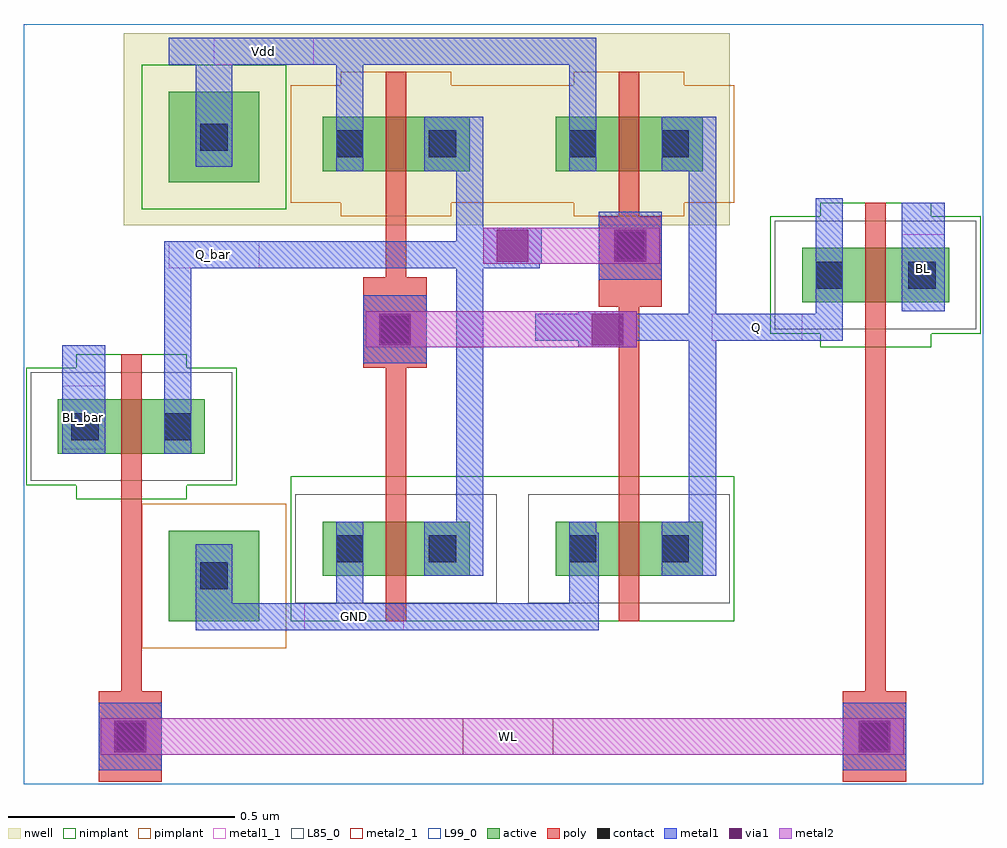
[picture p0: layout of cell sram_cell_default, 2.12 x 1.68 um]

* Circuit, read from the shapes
.subckt sram_cell_default BL BL_bar GND Q Q_bar Vdd WL
M1 Q_bar WL BL_bar GND nfet w=0.12u l=0.045u
M2 Q_bar Q GND GND nfet w=0.12u l=0.045u
M3 Q Q_bar GND GND nfet w=0.12u l=0.045u
M4 BL WL Q GND nfet w=0.12u l=0.045u
M5 Q_bar Q Vdd Vdd pfet w=0.12u l=0.045u
M6 Q Q_bar Vdd Vdd pfet w=0.12u l=0.045u
.ends

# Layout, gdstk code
from math import pi, radians
import gdstk
lib = gdstk.Library(unit=1e-6, precision=5e-10)
def R(c, l, rs):  # rectangles x0, y0, x1, y1
    for r in rs: c.add(gdstk.rectangle(r[:2], r[2:], *l))
active = (1, 0)
nwell = (2, 0)
poly = (3, 0)
nimplant = (4, 0)
pimplant = (5, 0)
contact = (6, 0)
metal1 = (7, 0)
metal1_1 = (7, 1)
via1 = (8, 0)
metal2 = (9, 0)
metal2_1 = (9, 1)
L85_0 = (85, 0)
L99_0 = (99, 0)

nmos1v_cdns_794036925230 = lib.new_cell('nmos1v_CDNS_794036925230')
R(nmos1v_cdns_794036925230, active, [(-0.14,0,0,0.12), (0,0,0.045,0.12), (0.045,0,0.185,0.12)])
R(nmos1v_cdns_794036925230, poly, [(0,-0.1,0.045,-0.05), (0,-0.05,0.045,0), (0,0,0.045,0.12), (0,0.12,0.045,0.17), (0,0.17,0.045,0.22)])
R(nmos1v_cdns_794036925230, nimplant, [(-0.1,-0.1,0.145,0.22), (-0.21,-0.07,0.255,0.19)])
R(nmos1v_cdns_794036925230, contact, [(-0.11,0.03,-0.05,0.09), (0.095,0.03,0.155,0.09)])
R(nmos1v_cdns_794036925230, metal1, [(-0.11,0,-0.05,0.12), (0.095,0,0.155,0.12)])
R(nmos1v_cdns_794036925230, L85_0, [(-0.2,-0.06,0.245,0.18)])

pmos1v_cdns_794036925231 = lib.new_cell('pmos1v_CDNS_794036925231')
R(pmos1v_cdns_794036925231, active, [(-0.14,0,0,0.12), (0,0,0.045,0.12), (0.045,0,0.185,0.12)])
R(pmos1v_cdns_794036925231, nwell, [(-0.2,-0.06,0.245,0.18)])
R(pmos1v_cdns_794036925231, poly, [(0,-0.1,0.045,-0.05), (0,-0.05,0.045,0), (0,0,0.045,0.12), (0,0.12,0.045,0.17), (0,0.17,0.045,0.22)])
R(pmos1v_cdns_794036925231, pimplant, [(-0.1,-0.1,0.145,0.22), (-0.21,-0.07,0.255,0.19)])
R(pmos1v_cdns_794036925231, contact, [(-0.11,0.03,-0.05,0.09), (0.095,0.03,0.155,0.09)])
R(pmos1v_cdns_794036925231, metal1, [(-0.11,0,-0.05,0.12), (0.095,0,0.155,0.12)])

sram_cell_default = lib.new_cell('sram_cell_default')
R(sram_cell_default, active, [(0.32,0.36,0.52,0.56), (0.32,1.33,0.52,1.53)])
R(sram_cell_default, nwell, [(0.22,1.235,1.56,1.66), (0.6,1.235,1.56,1.535)])
R(sram_cell_default, poly, [(0.165,0.005,0.305,0.205), (1.81,0.005,1.95,0.205), (0.215,0.105,0.26,0.33), (1.86,0.105,1.905,0.33), (0.215,0.23,0.26,0.9), (1.86,0.23,1.905,1.115), (0.8,0.565,0.845,1.275), (1.315,0.565,1.36,1.29), (1.315,0.885,1.36,1.29), (0.8,0.895,0.845,1.275), (0.75,0.92,0.89,1.12), (1.27,1.055,1.41,1.255)])
R(sram_cell_default, nimplant, [(0.59,0.36,1.57,0.68), (0.26,1.27,0.58,1.59)])
R(sram_cell_default, pimplant, [(0.26,0.3,0.58,0.62), (1.005,1.285,1.135,1.545)])
R(sram_cell_default, contact, [(0.205,0.075,0.265,0.135), (1.85,0.075,1.91,0.135), (0.39,0.43,0.45,0.49), (0.79,0.975,0.85,1.035), (1.31,1.16,1.37,1.22), (0.39,1.4,0.45,1.46)])
R(sram_cell_default, metal1, [(0.165,0.03,0.305,0.18), (1.81,0.03,1.95,0.18), (0.38,0.34,0.46,0.53), (0.39,0.34,1.27,0.4), (0.69,0.36,0.75,0.56), (1.205,0.36,1.27,0.555), (0.885,0.46,1.015,0.58), (0.955,0.46,1.015,1.375), (1.41,0.46,1.53,0.58), (1.47,0.46,1.53,1.475), (0.085,0.73,0.18,0.97), (0.31,0.73,0.37,1.2), (0.75,0.93,0.89,1.08), (1.225,0.965,1.355,1.045), (1.13,0.98,1.81,1.04), (1.75,1.025,1.81,1.295), (1.94,1.045,2.035,1.285), (1.27,1.115,1.41,1.265), (0.31,1.14,0.955,1.2), (0.895,1.14,1.14,1.2), (1.015,1.15,1.145,1.23), (0.885,1.355,1.015,1.475), (1.205,1.355,1.265,1.65), (1.41,1.355,1.53,1.475), (0.38,1.365,0.46,1.65), (0.69,1.465,0.75,1.65), (0.32,1.59,1.265,1.65), (0.69,1.59,1.265,1.65)])
R(sram_cell_default, metal1_1, [(0.62,0.34,0.84,0.4), (0.085,0.74,0.18,0.88), (1.52,0.98,1.72,1.04), (1.94,1.065,2.035,1.215), (0.32,1.14,0.52,1.2), (0.42,1.59,0.64,1.65)])
R(sram_cell_default, via1, [(0.2,0.07,0.27,0.14), (1.845,0.07,1.915,0.14), (0.785,0.97,0.855,1.04), (1.255,0.97,1.325,1.04), (1.045,1.155,1.115,1.225), (1.305,1.155,1.375,1.225)])
R(sram_cell_default, metal2, [(0.17,0.065,1.945,0.145), (0.17,0.065,0.3,0.145), (1.815,0.065,1.945,0.145), (0.755,0.965,0.885,1.045), (0.755,0.965,1.355,1.045), (1.225,0.965,1.355,1.045), (1.015,1.15,1.145,1.23), (1.015,1.15,1.405,1.23), (1.275,1.15,1.405,1.23)])
R(sram_cell_default, metal2_1, [(0.97,0.065,1.17,0.145)])
R(sram_cell_default, L99_0, [(0,0,2.12,1.68)])
sram_cell_default.add(gdstk.Reference(nmos1v_cdns_794036925230, (1.86,1.065)))
sram_cell_default.add(gdstk.Reference(nmos1v_cdns_794036925230, (1.315,0.46)))
sram_cell_default.add(gdstk.Reference(nmos1v_cdns_794036925230, (0.8,0.46)))
sram_cell_default.add(gdstk.Reference(nmos1v_cdns_794036925230, (0.215,0.73)))
sram_cell_default.add(gdstk.Reference(pmos1v_cdns_794036925231, (1.36,1.355), rotation=pi, x_reflection=True))
sram_cell_default.add(gdstk.Reference(pmos1v_cdns_794036925231, (0.8,1.355)))
sram_cell_default.add(gdstk.Label('Q', (1.62,1.01), layer=7, texttype=3))
sram_cell_default.add(gdstk.Label('Q_bar', (0.42,1.17), layer=7, texttype=3))
sram_cell_default.add(gdstk.Label('BL', (1.9875,1.14), layer=7, texttype=3))
sram_cell_default.add(gdstk.Label('BL_bar', (0.1325,0.81), layer=7, texttype=3))
sram_cell_default.add(gdstk.Label('GND', (0.73,0.37), layer=7, texttype=3))
sram_cell_default.add(gdstk.Label('Vdd', (0.53,1.62), layer=7, texttype=3))
sram_cell_default.add(gdstk.Label('WL', (1.07,0.105), layer=9, texttype=3))

lib.write_gds('sram_cell_default.gds')
